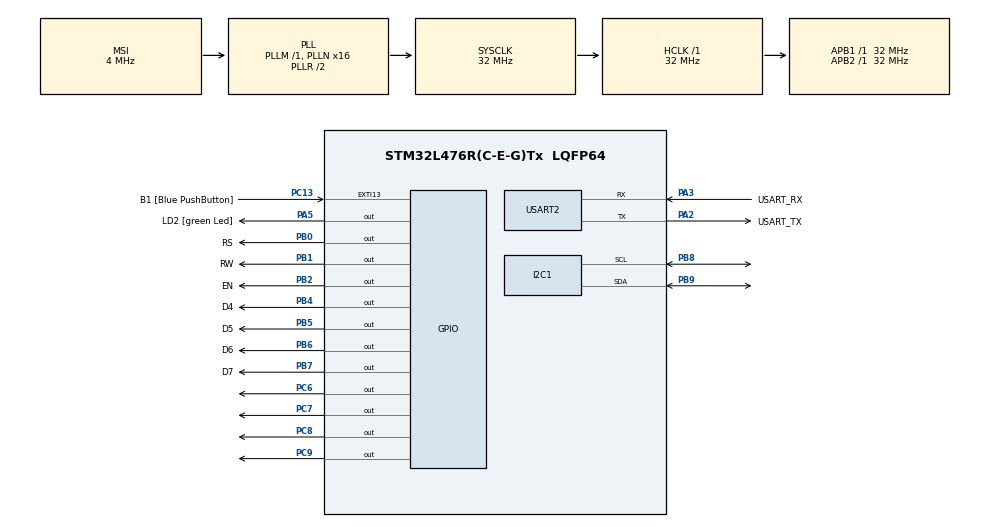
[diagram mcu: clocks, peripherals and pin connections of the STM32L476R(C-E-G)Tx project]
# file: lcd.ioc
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Mcu.Family=STM32L4
PA2.GPIO_PuPd=GPIO_NOPULL
VP_SYS_VS_tim6.Mode=TIM6
RCC.CortexFreq_Value=32000000
NVIC.TIM6_DAC_IRQn=true\:0\:0\:false\:false\:true\:false\:false\:true
PH0-OSC_IN\ (PH0).Signal=RCC_OSC_IN
PA3.GPIO_PuPd=GPIO_NOPULL
PA2.GPIO_Speed=GPIO_SPEED_FREQ_VERY_HIGH
VP_RTC_VS_RTC_Activate.Mode=RTC_Enabled
RTC.WeekDay=RTC_WEEKDAY_WEDNESDAY
PB0.GPIO_Label=RS
PB6.GPIO_Label=D6
PC15-OSC32_OUT\ (PC15).Mode=LSE-External-Oscillator
PC13.GPIO_Label=B1 [Blue PushButton]
PA3.GPIO_Speed=GPIO_SPEED_FREQ_VERY_HIGH
VP_RTC_VS_RTC_Alarm_A_Intern.Mode=Alarm A
RCC.SYSCLKSource=RCC_SYSCLKSOURCE_PLLCLK
ProjectManager.StackSize=0x400
PB3\ (JTDO-TRACESWO).Signal=SYS_JTDO-SWO
PC14-OSC32_IN\ (PC14).Mode=LSE-External-Oscillator
VP_FREERTOS_VS_CMSIS_V2.Mode=CMSIS_V2
PA14\ (JTCK-SWCLK).Signal=SYS_JTCK-SWCLK
TIM1.Prescaler=72-1
RCC.HCLKFreq_Value=32000000
RCC.APB2TimFreq_Value=32000000
PB6.Signal=GPIO_Output
PC7.Signal=GPIO_Output
RCC.AHBFreq_Value=32000000
PH1-OSC_OUT\ (PH1).Mode=HSE-External-Oscillator
RCC.HSE_VALUE=8000000
RTC.Minutes=20
PB2.Signal=GPIO_Output
USART2.VirtualMode-Asynchronous=VM_ASYNC
RTC.Month=RTC_MONTH_AUGUST
PA5.GPIO_PuPd=GPIO_NOPULL
PB1.GPIO_Label=RW
PC13.GPIO_PuPd=GPIO_NOPULL
PB7.Signal=GPIO_Output
VP_TIM1_VS_ClockSourceINT.Mode=Internal
RTC.Hours_A-Alarm\ A=10
PB7.GPIO_Label=D7
Mcu.Package=LQFP64
PB9.Signal=I2C1_SDA
PB1.Signal=GPIO_Output
NVIC.TimeBase=TIM6_DAC_IRQn
PA2.GPIO_Label=USART_TX
NVIC.TimeBaseIP=TIM6
VP_RTC_VS_RTC_Calendar.Mode=RTC_Calendar
PB5.GPIO_Label=D5
RCC.APB1TimFreq_Value=32000000
TIM1.Period=0xffff-1
PA13\ (JTMS-SWDIO).Signal=SYS_JTMS-SWDIO
PH0-OSC_IN\ (PH0).Mode=HSE-External-Oscillator
PA3.Signal=USART2_RX
PA2.GPIO_Mode=GPIO_MODE_AF_PP
RCC.MSI_VALUE=4000000
PA14\ (JTCK-SWCLK).Mode=Serial_Wire
FREERTOS.Tasks01=TempAndHum,24,128,StartTempAndHum,Default,NULL,Dynamic,NULL,NULL;TimeDate,24,128,StartTimeDate,Default,NULL,Dynamic,NULL,NULL
PC13.Signal=GPXTI13
RTC.AlarmDateWeekDay-Alarm\ A=12
PC8.Signal=GPIO_Output
PC6.Signal=GPIO_Output
PC15-OSC32_OUT\ (PC15).Signal=RCC_OSC32_OUT
PA14\ (JTCK-SWCLK).GPIO_Label=TCK
PB3\ (JTDO-TRACESWO).GPIO_Label=SWO
PH1-OSC_OUT\ (PH1).Signal=RCC_OSC_OUT
PA3.Mode=Asynchronous
ProjectManager.TargetToolchain=STM32CubeIDE
PA3.GPIO_Mode=GPIO_MODE_AF_PP
PB9.Mode=I2C
I2C1.Timing=0x00707CBB
RCC.USBFreq_Value=16000000
PA5.Signal=GPIO_Output
board=NUCLEO-L476RG
RCC.VCOOutputFreq_Value=64000000
RCC.APB2Freq_Value=32000000
PA5.GPIO_ModeDefaultOutputPP=GPIO_MODE_OUTPUT_PP
PA13\ (JTMS-SWDIO).GPIO_Label=TMS
RCC.ADCFreq_Value=16000000
Mcu.Name=STM32L476R(C-E-G)Tx
RTC.Alarm-Alarm\ A=RTC_ALARM_A
PA2.Signal=USART2_TX
RTC.Minutes_A-Alarm\ A=21
PA13\ (JTMS-SWDIO).Mode=Serial_Wire
RCC.SYSCLKFreq_VALUE=32000000
RTC.Hours=10
PB5.Signal=GPIO_Output
PA5.GPIO_Label=LD2 [green Led]
PC13.GPIO_ModeDefaultEXTI=GPIO_MODE_IT_FALLING
PC14-OSC32_IN\ (PC14).Signal=RCC_OSC32_IN
PB2.GPIO_Label=EN
ProjectManager.HeapSize=0x200
RCC.HSI_VALUE=16000000
PA5.GPIO_Speed=GPIO_SPEED_FREQ_LOW
NVIC.PriorityGroup=NVIC_PRIORITYGROUP_4
PB8.Mode=I2C
RCC.PLLN=16
PA2.Mode=Asynchronous
PB8.Signal=I2C1_SCL
PC9.Signal=GPIO_Output
PB4\ (NJTRST).GPIO_Label=D4
RTC.Seconds=30
RCC.APB1Freq_Value=32000000
PB0.Signal=GPIO_Output
RTC.Date=18
PA3.GPIO_Label=USART_RX
PB4\ (NJTRST).Signal=GPIO_Output

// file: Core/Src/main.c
/* USER CODE BEGIN Header */
/**
  ******************************************************************************
  * @file           : main.c
  * @brief          : Main program body
  ******************************************************************************
  * @attention
  *
  * <h2><center>&copy; Copyright (c) 2021 STMicroelectronics.
  * All rights reserved.</center></h2>
  *
  * This software component is licensed by ST under BSD 3-Clause license,
  * the "License"; You may not use this file except in compliance with the
  * License. You may obtain a copy of the License at:
  *                        opensource.org/licenses/BSD-3-Clause
  *
  ******************************************************************************
  */
/* USER CODE END Header */
#include "main.h"
#include "cmsis_os.h"

/* USER CODE BEGIN Includes */
#include <stdio.h>
#include <string.h>
/* USER CODE END Includes */

I2C_HandleTypeDef hi2c1;

RTC_HandleTypeDef hrtc;

TIM_HandleTypeDef htim1;

UART_HandleTypeDef huart2;

/* Definitions for TempAndHum */
osThreadId_t TempAndHumHandle;
const osThreadAttr_t TempAndHum_attributes = {
  .name = "TempAndHum",
  .stack_size = 128 * 4,
  .priority = (osPriority_t) osPriorityNormal,
};
/* Definitions for TimeDate */
osThreadId_t TimeDateHandle;
const osThreadAttr_t TimeDate_attributes = {
  .name = "TimeDate",
  .stack_size = 128 * 4,
  .priority = (osPriority_t) osPriorityNormal,
};
/* USER CODE BEGIN PV */
static const uint8_t TMP102_ADDR = 0x48<<1; //tmp102
static const uint8_t REG_TEMP = 0x00; //tmp102
char time[10]; //rtc time
char date[10]; //rtc date
uint8_t buf[10]; //temp
uint8_t buf2[10]; //humidity
//HTU21D
uint8_t HTU21D_RX_Data[3];
float HTU21D_Temperature;
float HTU21D_Humidity;
uint16_t HTU21D_ADC_Raw;
uint8_t HTU21D_Temp_Cmd = 0xE3;
uint8_t HTU21D_Humi_Cmd = 0xE5;
#define HTU21D_Adress (0x40 << 1)
#define HTU21D_POLY 0x13100
/* USER CODE END PV */

void SystemClock_Config(void);
static void MX_GPIO_Init(void);
static void MX_USART2_UART_Init(void);
static void MX_TIM1_Init(void);
static void MX_I2C1_Init(void);
static void MX_RTC_Init(void);
void StartTempAndHum(void *argument);
void StartTimeDate(void *argument);

/* USER CODE BEGIN PFP */
void send_to_lcd (char data, int rs);
void lcd_send_cmd (char cmd);
void lcd_send_data (char data);
void lcd_put_cur(int row, int col);
void lcd_init (void);
void lcd_clear(void);
void lcd_send_string(char *str);
void delay(uint16_t us);
uint8_t HTU21D_CRC8(uint16_t HTU21D_ADC, uint8_t *HTU21D_CRC);

/* USER CODE END PFP */

/* USER CODE BEGIN 0 */

uint8_t HTU21D_CRC8(uint16_t HTU21D_ADC, uint8_t *HTU21D_CRC)
{

	if(HTU21D_ADC == 0 | *HTU21D_CRC == 0)
		return 0;

  for (uint8_t i = 0; i < 16; i++)
	{
		HTU21D_ADC = ((HTU21D_ADC & 0x8000) ? ((HTU21D_ADC << 1) ^ HTU21D_POLY) : (HTU21D_ADC <<= 1));
	}
  HTU21D_ADC >>= 8;

	if((uint8_t)HTU21D_ADC == *HTU21D_CRC)
		return 255;
	else
		return 0;
}

void delay(uint16_t us)
{
	__HAL_TIM_SET_COUNTER(&htim1,0);
	while(__HAL_TIM_GET_COUNTER(&htim1)<us);

}

void send_to_lcd (char data, int rs)
{
    HAL_GPIO_WritePin(GPIOB, GPIO_PIN_0, rs);  // rs = 1 for data, rs = 0 for command
    /* write the data to the respective pin */
    HAL_GPIO_WritePin(GPIOB, GPIO_PIN_7, ((data>>7)&0x01));
    HAL_GPIO_WritePin(GPIOB, GPIO_PIN_6, ((data>>6)&0x01));
    HAL_GPIO_WritePin(GPIOB, GPIO_PIN_5, ((data>>5)&0x01));
    HAL_GPIO_WritePin(GPIOB, GPIO_PIN_4, ((data>>4)&0x01));
    HAL_GPIO_WritePin(GPIOC, GPIO_PIN_9, ((data>>3)&0x01));
    HAL_GPIO_WritePin(GPIOC, GPIO_PIN_8, ((data>>2)&0x01));
    HAL_GPIO_WritePin(GPIOC, GPIO_PIN_7, ((data>>1)&0x01));
    HAL_GPIO_WritePin(GPIOC, GPIO_PIN_6, ((data>>0)&0x01));
    /* Toggle EN PIN to send the data
     * if the HCLK > 100 MHz, use the  20 us delay
     * if the LCD still doesn't work, increase the delay to 50, 80 or 100..
     */
    if(rs == 1){ //data
		HAL_GPIO_WritePin(GPIOB, GPIO_PIN_1, 0); //rs high
		HAL_GPIO_WritePin(GPIOB, GPIO_PIN_0, 1); //rw low
		//delay (20);
		HAL_GPIO_WritePin(GPIOB, GPIO_PIN_2, 1); // EN set high
		HAL_Delay(10);
		HAL_GPIO_WritePin(GPIOB, GPIO_PIN_2, 0); //EN set low
		//delay (20);
    }
    else{ //cmd
    	HAL_GPIO_WritePin(GPIOB, GPIO_PIN_1, 0); //RS set low
    	HAL_GPIO_WritePin(GPIOB, GPIO_PIN_0, 0); //RW set low
    	//delay (20);
    	HAL_GPIO_WritePin(GPIOB, GPIO_PIN_2, 1); //EN set high
   		HAL_Delay(10);
    	HAL_GPIO_WritePin(GPIOB, GPIO_PIN_2, 0); // EN set low
    	//delay (20);
    }
}

void lcd_send_cmd (char cmd)
{
    char datatosend;
    datatosend = cmd & 0xFF;
    send_to_lcd(datatosend,0);  // RS must be while sending command

}

void lcd_send_data (char data)
{
    char datatosend;
    datatosend = data & 0xFF;
    send_to_lcd(datatosend, 1);  // rs =1 for sending data
}

void lcd_put_cur(int row, int col)
{
    switch (row)
    {
        case 0:
            col |= 0x80;
            break;
        case 1:
            col |= 0xC0;
            break;
    }
    lcd_send_cmd (col);
}

void lcd_init (void)
{
    //8 bit mode
    lcd_send_cmd(0x38);
    lcd_send_cmd(0x06);
    lcd_send_cmd(0x0C);
    lcd_send_cmd(0x01);
    lcd_send_cmd(0x80);
}

void lcd_clear(void)
{
	lcd_send_cmd(0x01);
	HAL_Delay(2);
}

void lcd_send_string(char *str)
{
	while(*str){
		lcd_send_data(*str++);
	}
}

void set_time (void)
{

	  RTC_TimeTypeDef sTime;
	  RTC_DateTypeDef sDate;
	  sTime.Hours = 0x06; // set hours
	  sTime.Minutes = 0x1C; // set minutes
	  sTime.Seconds = 0x30; // set seconds
	  sTime.DayLightSaving = RTC_DAYLIGHTSAVING_NONE;
	  sTime.StoreOperation = RTC_STOREOPERATION_RESET;
	  if (HAL_RTC_SetTime(&hrtc, &sTime, RTC_FORMAT_BCD) != HAL_OK)
	  {
	  }
	  sDate.WeekDay = RTC_WEEKDAY_WEDNESDAY;
	  sDate.Month = RTC_MONTH_AUGUST;
	  sDate.Date = 0x18; // date
	  sDate.Year = 0x1B; // year
	  if (HAL_RTC_SetDate(&hrtc, &sDate, RTC_FORMAT_BCD) != HAL_OK)
	  {
	  }
	  HAL_RTCEx_BKUPWrite(&hrtc, RTC_BKP_DR1, 0x32F2); // backup register
}

void get_time(void)
{
 RTC_DateTypeDef gDate;
 RTC_TimeTypeDef gTime;
/* Get the RTC current Time */
 HAL_RTC_GetTime(&hrtc, &gTime, RTC_FORMAT_BIN);
/* Get the RTC current Date */
 HAL_RTC_GetDate(&hrtc, &gDate, RTC_FORMAT_BIN);
/* Display time Format: hh:mm:ss */
 sprintf((char*)time,"%02d:%02d:%02d",gTime.Hours, gTime.Minutes, gTime.Seconds);
/* Display date Format: dd-mm-yy */
 sprintf((char*)date,"%02d-%02d-%2d",gDate.Month, gDate.Date, 2000 + gDate.Year);
}

/* USER CODE END 0 */

int main(void)
{
  /* USER CODE BEGIN 1 */
	HAL_StatusTypeDef ret;
	int16_t val;
	float temp_c;
  /* USER CODE END 1 */

  /* MCU Configuration--------------------------------------------------------*/

  /* Reset of all peripherals, Initializes the Flash interface and the Systick. */
  HAL_Init();

  /* Configure the system clock */
  SystemClock_Config();

  /* Initialize all configured peripherals */
  MX_GPIO_Init();
  MX_USART2_UART_Init();
  MX_TIM1_Init();
  MX_I2C1_Init();
  MX_RTC_Init();
  /* USER CODE BEGIN 2 */
  lcd_init();
  set_time();

  //set_alarm();
  /* USER CODE END 2 */

  /* Init scheduler */
  osKernelInitialize();

  /* Create the thread(s) */
  /* creation of TempAndHum */
  TempAndHumHandle = osThreadNew(StartTempAndHum, NULL, &TempAndHum_attributes);

  /* creation of TimeDate */
  TimeDateHandle = osThreadNew(StartTimeDate, NULL, &TimeDate_attributes);

  /* Start scheduler */
  osKernelStart();

  /* We should never get here as control is now taken by the scheduler */
  /* Infinite loop */
  while (1)
  {

  }
}

void SystemClock_Config(void)
{
  RCC_OscInitTypeDef RCC_OscInitStruct = {0};
  RCC_ClkInitTypeDef RCC_ClkInitStruct = {0};
  RCC_PeriphCLKInitTypeDef PeriphClkInit = {0};

  /** Configure LSE Drive Capability
  */
  HAL_PWR_EnableBkUpAccess();
  __HAL_RCC_LSEDRIVE_CONFIG(RCC_LSEDRIVE_LOW);
  /** Initializes the RCC Oscillators according to the specified parameters
  * in the RCC_OscInitTypeDef structure.
  */
  RCC_OscInitStruct.OscillatorType = RCC_OSCILLATORTYPE_LSI|RCC_OSCILLATORTYPE_LSE
                              |RCC_OSCILLATORTYPE_MSI;
  RCC_OscInitStruct.LSEState = RCC_LSE_ON;
  RCC_OscInitStruct.LSIState = RCC_LSI_ON;
  RCC_OscInitStruct.MSIState = RCC_MSI_ON;
  RCC_OscInitStruct.MSICalibrationValue = 0;
  RCC_OscInitStruct.MSIClockRange = RCC_MSIRANGE_6;
  RCC_OscInitStruct.PLL.PLLState = RCC_PLL_ON;
  RCC_OscInitStruct.PLL.PLLSource = RCC_PLLSOURCE_MSI;
  RCC_OscInitStruct.PLL.PLLM = 1;
  RCC_OscInitStruct.PLL.PLLN = 16;
  RCC_OscInitStruct.PLL.PLLP = RCC_PLLP_DIV7;
  RCC_OscInitStruct.PLL.PLLQ = RCC_PLLQ_DIV2;
  RCC_OscInitStruct.PLL.PLLR = RCC_PLLR_DIV2;
  if (HAL_RCC_OscConfig(&RCC_OscInitStruct) != HAL_OK)
  {
    Error_Handler();
  }
  /** Initializes the CPU, AHB and APB buses clocks
  */
  RCC_ClkInitStruct.ClockType = RCC_CLOCKTYPE_HCLK|RCC_CLOCKTYPE_SYSCLK
                              |RCC_CLOCKTYPE_PCLK1|RCC_CLOCKTYPE_PCLK2;
  RCC_ClkInitStruct.SYSCLKSource = RCC_SYSCLKSOURCE_PLLCLK;
  RCC_ClkInitStruct.AHBCLKDivider = RCC_SYSCLK_DIV1;
  RCC_ClkInitStruct.APB1CLKDivider = RCC_HCLK_DIV1;
  RCC_ClkInitStruct.APB2CLKDivider = RCC_HCLK_DIV1;

  if (HAL_RCC_ClockConfig(&RCC_ClkInitStruct, FLASH_LATENCY_1) != HAL_OK)
  {
    Error_Handler();
  }
  PeriphClkInit.PeriphClockSelection = RCC_PERIPHCLK_RTC|RCC_PERIPHCLK_USART2
                              |RCC_PERIPHCLK_I2C1;
  PeriphClkInit.Usart2ClockSelection = RCC_USART2CLKSOURCE_PCLK1;
  PeriphClkInit.I2c1ClockSelection = RCC_I2C1CLKSOURCE_PCLK1;
  PeriphClkInit.RTCClockSelection = RCC_RTCCLKSOURCE_LSI;
  if (HAL_RCCEx_PeriphCLKConfig(&PeriphClkInit) != HAL_OK)
  {
    Error_Handler();
  }
  /** Configure the main internal regulator output voltage
  */
  if (HAL_PWREx_ControlVoltageScaling(PWR_REGULATOR_VOLTAGE_SCALE1) != HAL_OK)
  {
    Error_Handler();
  }
  /** Enable MSI Auto calibration
  */
  HAL_RCCEx_EnableMSIPLLMode();
}

static void MX_I2C1_Init(void)
{

  hi2c1.Instance = I2C1;
  hi2c1.Init.Timing = 0x00707CBB;
  hi2c1.Init.OwnAddress1 = 0;
  hi2c1.Init.AddressingMode = I2C_ADDRESSINGMODE_7BIT;
  hi2c1.Init.DualAddressMode = I2C_DUALADDRESS_DISABLE;
  hi2c1.Init.OwnAddress2 = 0;
  hi2c1.Init.OwnAddress2Masks = I2C_OA2_NOMASK;
  hi2c1.Init.GeneralCallMode = I2C_GENERALCALL_DISABLE;
  hi2c1.Init.NoStretchMode = I2C_NOSTRETCH_DISABLE;
  if (HAL_I2C_Init(&hi2c1) != HAL_OK)
  {
    Error_Handler();
  }
  /** Configure Analogue filter
  */
  if (HAL_I2CEx_ConfigAnalogFilter(&hi2c1, I2C_ANALOGFILTER_ENABLE) != HAL_OK)
  {
    Error_Handler();
  }
  /** Configure Digital filter
  */
  if (HAL_I2CEx_ConfigDigitalFilter(&hi2c1, 0) != HAL_OK)
  {
    Error_Handler();
  }

}

static void MX_RTC_Init(void)
{

  RTC_TimeTypeDef sTime = {0};
  RTC_DateTypeDef sDate = {0};
  RTC_AlarmTypeDef sAlarm = {0};

  /** Initialize RTC Only
  */
  hrtc.Instance = RTC;
  hrtc.Init.HourFormat = RTC_HOURFORMAT_24;
  hrtc.Init.AsynchPrediv = 127;
  hrtc.Init.SynchPrediv = 255;
  hrtc.Init.OutPut = RTC_OUTPUT_DISABLE;
  hrtc.Init.OutPutRemap = RTC_OUTPUT_REMAP_NONE;
  hrtc.Init.OutPutPolarity = RTC_OUTPUT_POLARITY_HIGH;
  hrtc.Init.OutPutType = RTC_OUTPUT_TYPE_OPENDRAIN;
  if (HAL_RTC_Init(&hrtc) != HAL_OK)
  {
    Error_Handler();
  }

  /** Initialize RTC and set the Time and Date
  */
  sTime.Hours = 0x10;
  sTime.Minutes = 0x20;
  sTime.Seconds = 0x30;
  sTime.DayLightSaving = RTC_DAYLIGHTSAVING_NONE;
  sTime.StoreOperation = RTC_STOREOPERATION_RESET;
  if (HAL_RTC_SetTime(&hrtc, &sTime, RTC_FORMAT_BCD) != HAL_OK)
  {
    Error_Handler();
  }
  sDate.WeekDay = RTC_WEEKDAY_WEDNESDAY;
  sDate.Month = RTC_MONTH_AUGUST;
  sDate.Date = 0x18;
  sDate.Year = 0x0;

  if (HAL_RTC_SetDate(&hrtc, &sDate, RTC_FORMAT_BCD) != HAL_OK)
  {
    Error_Handler();
  }
  /** Enable the Alarm A
  */
  sAlarm.AlarmTime.Hours = 0x10;
  sAlarm.AlarmTime.Minutes = 0x21;
  sAlarm.AlarmTime.Seconds = 0x0;
  sAlarm.AlarmTime.SubSeconds = 0x0;
  sAlarm.AlarmTime.DayLightSaving = RTC_DAYLIGHTSAVING_NONE;
  sAlarm.AlarmTime.StoreOperation = RTC_STOREOPERATION_RESET;
  sAlarm.AlarmMask = RTC_ALARMMASK_NONE;
  sAlarm.AlarmSubSecondMask = RTC_ALARMSUBSECONDMASK_ALL;
  sAlarm.AlarmDateWeekDaySel = RTC_ALARMDATEWEEKDAYSEL_DATE;
  sAlarm.AlarmDateWeekDay = 0x12;
  sAlarm.Alarm = RTC_ALARM_A;
  if (HAL_RTC_SetAlarm(&hrtc, &sAlarm, RTC_FORMAT_BCD) != HAL_OK)
  {
    Error_Handler();
  }

}

static void MX_TIM1_Init(void)
{

  TIM_ClockConfigTypeDef sClockSourceConfig = {0};
  TIM_MasterConfigTypeDef sMasterConfig = {0};

  htim1.Instance = TIM1;
  htim1.Init.Prescaler = 72-1;
  htim1.Init.CounterMode = TIM_COUNTERMODE_UP;
  htim1.Init.Period = 0xffff-1;
  htim1.Init.ClockDivision = TIM_CLOCKDIVISION_DIV1;
  htim1.Init.RepetitionCounter = 0;
  htim1.Init.AutoReloadPreload = TIM_AUTORELOAD_PRELOAD_DISABLE;
  if (HAL_TIM_Base_Init(&htim1) != HAL_OK)
  {
    Error_Handler();
  }
  sClockSourceConfig.ClockSource = TIM_CLOCKSOURCE_INTERNAL;
  if (HAL_TIM_ConfigClockSource(&htim1, &sClockSourceConfig) != HAL_OK)
  {
    Error_Handler();
  }
  sMasterConfig.MasterOutputTrigger = TIM_TRGO_RESET;
  sMasterConfig.MasterOutputTrigger2 = TIM_TRGO2_RESET;
  sMasterConfig.MasterSlaveMode = TIM_MASTERSLAVEMODE_DISABLE;
  if (HAL_TIMEx_MasterConfigSynchronization(&htim1, &sMasterConfig) != HAL_OK)
  {
    Error_Handler();
  }

}

static void MX_USART2_UART_Init(void)
{

  huart2.Instance = USART2;
  huart2.Init.BaudRate = 115200;
  huart2.Init.WordLength = UART_WORDLENGTH_8B;
  huart2.Init.StopBits = UART_STOPBITS_1;
  huart2.Init.Parity = UART_PARITY_NONE;
  huart2.Init.Mode = UART_MODE_TX_RX;
  huart2.Init.HwFlowCtl = UART_HWCONTROL_NONE;
  huart2.Init.OverSampling = UART_OVERSAMPLING_16;
  huart2.Init.OneBitSampling = UART_ONE_BIT_SAMPLE_DISABLE;
  huart2.AdvancedInit.AdvFeatureInit = UART_ADVFEATURE_NO_INIT;
  if (HAL_UART_Init(&huart2) != HAL_OK)
  {
    Error_Handler();
  }

}

static void MX_GPIO_Init(void)
{
  GPIO_InitTypeDef GPIO_InitStruct = {0};

  /* GPIO Ports Clock Enable */
  __HAL_RCC_GPIOC_CLK_ENABLE();
  __HAL_RCC_GPIOH_CLK_ENABLE();
  __HAL_RCC_GPIOA_CLK_ENABLE();
  __HAL_RCC_GPIOB_CLK_ENABLE();

  /*Configure GPIO pin Output Level */
  HAL_GPIO_WritePin(LD2_GPIO_Port, LD2_Pin, GPIO_PIN_RESET);

  /*Configure GPIO pin Output Level */
  HAL_GPIO_WritePin(GPIOB, RS_Pin|RW_Pin|EN_Pin|D4_Pin
                          |D5_Pin|D6_Pin|D7_Pin, GPIO_PIN_RESET);

  /*Configure GPIO pin Output Level */
  HAL_GPIO_WritePin(GPIOC, GPIO_PIN_6|GPIO_PIN_7|GPIO_PIN_8|GPIO_PIN_9, GPIO_PIN_RESET);

  /*Configure GPIO pin : B1_Pin */
  GPIO_InitStruct.Pin = B1_Pin;
  GPIO_InitStruct.Mode = GPIO_MODE_IT_FALLING;
  GPIO_InitStruct.Pull = GPIO_NOPULL;
  HAL_GPIO_Init(B1_GPIO_Port, &GPIO_InitStruct);

  /*Configure GPIO pin : LD2_Pin */
  GPIO_InitStruct.Pin = LD2_Pin;
  GPIO_InitStruct.Mode = GPIO_MODE_OUTPUT_PP;
  GPIO_InitStruct.Pull = GPIO_NOPULL;
  GPIO_InitStruct.Speed = GPIO_SPEED_FREQ_LOW;
  HAL_GPIO_Init(LD2_GPIO_Port, &GPIO_InitStruct);

  /*Configure GPIO pins : RS_Pin RW_Pin EN_Pin D4_Pin
                           D5_Pin D6_Pin D7_Pin */
  GPIO_InitStruct.Pin = RS_Pin|RW_Pin|EN_Pin|D4_Pin
                          |D5_Pin|D6_Pin|D7_Pin;
  GPIO_InitStruct.Mode = GPIO_MODE_OUTPUT_PP;
  GPIO_InitStruct.Pull = GPIO_NOPULL;
  GPIO_InitStruct.Speed = GPIO_SPEED_FREQ_LOW;
  HAL_GPIO_Init(GPIOB, &GPIO_InitStruct);

  /*Configure GPIO pins : PC6 PC7 PC8 PC9 */
  GPIO_InitStruct.Pin = GPIO_PIN_6|GPIO_PIN_7|GPIO_PIN_8|GPIO_PIN_9;
  GPIO_InitStruct.Mode = GPIO_MODE_OUTPUT_PP;
  GPIO_InitStruct.Pull = GPIO_NOPULL;
  GPIO_InitStruct.Speed = GPIO_SPEED_FREQ_LOW;
  HAL_GPIO_Init(GPIOC, &GPIO_InitStruct);

}

void StartTempAndHum(void *argument)
{
  /* USER CODE BEGIN 5 */
  /* Infinite loop */
  for(;;)
  {
	  //Temperature
	  HAL_I2C_Master_Transmit(&hi2c1, HTU21D_Adress, &HTU21D_Temp_Cmd, 1, 100);
	  HAL_I2C_Master_Receive(&hi2c1, 0x80, (uint8_t*)HTU21D_RX_Data, 2, 100);
	  HTU21D_ADC_Raw = ((uint16_t)(HTU21D_RX_Data[0] << 8) | (HTU21D_RX_Data[1]));
	  HTU21D_Temperature = (float)(HTU21D_ADC_Raw * 175.72 / 65536.00) - 46.85;
	  HTU21D_Temperature *=100;
	  sprintf((char*)buf,"T:%u.%02uC ", (unsigned int)HTU21D_Temperature/100, (unsigned int)HTU21D_Temperature%100);

	  //Humidity
	  HAL_I2C_Master_Transmit(&hi2c1, HTU21D_Adress, &HTU21D_Humi_Cmd, 1, 100);
	  HAL_I2C_Master_Receive(&hi2c1, 0x80, (uint8_t*)HTU21D_RX_Data, 2, 100);
	  HTU21D_ADC_Raw = ((uint16_t)(HTU21D_RX_Data[0] << 8) | (HTU21D_RX_Data[1]));
	  HTU21D_Humidity = (float)(HTU21D_ADC_Raw * 125.0 / 65536.0) - 6.0;
	  HTU21D_Humidity *=100;
	  sprintf((char*)buf2,"H:%u.%02u", (unsigned int)HTU21D_Humidity/100, (unsigned int)HTU21D_Humidity%100);

	  osDelay(1);
  }
  /* USER CODE END 5 */
}

void StartTimeDate(void *argument)
{
  /* USER CODE BEGIN StartTimeDate */
  /* Infinite loop */
  for(;;)
  {

	  lcd_send_cmd(0x80);//top right of lcd
	  lcd_send_string((char*)buf);//temp
	  lcd_send_string((char*)buf2);//humidity
	  lcd_send_cmd(0xC0);//next row on lcd
	  get_time();
	  lcd_send_string(time);
	  lcd_send_string(date);
	  osDelay(1);
  }
  /* USER CODE END StartTimeDate */
}

 /**
  * @brief  Period elapsed callback in non blocking mode
  * @note   This function is called  when TIM6 interrupt took place, inside
  * HAL_TIM_IRQHandler(). It makes a direct call to HAL_IncTick() to increment
  * a global variable "uwTick" used as application time base.
  * @param  htim : TIM handle
  * @retval None
  */
void HAL_TIM_PeriodElapsedCallback(TIM_HandleTypeDef *htim)
{
  if (htim->Instance == TIM6) {
    HAL_IncTick();
  }
}

void Error_Handler(void)
{
  __disable_irq();
  while (1)
  {
  }
}

/************************ (C) COPYRIGHT STMicroelectronics *****END OF FILE****/
